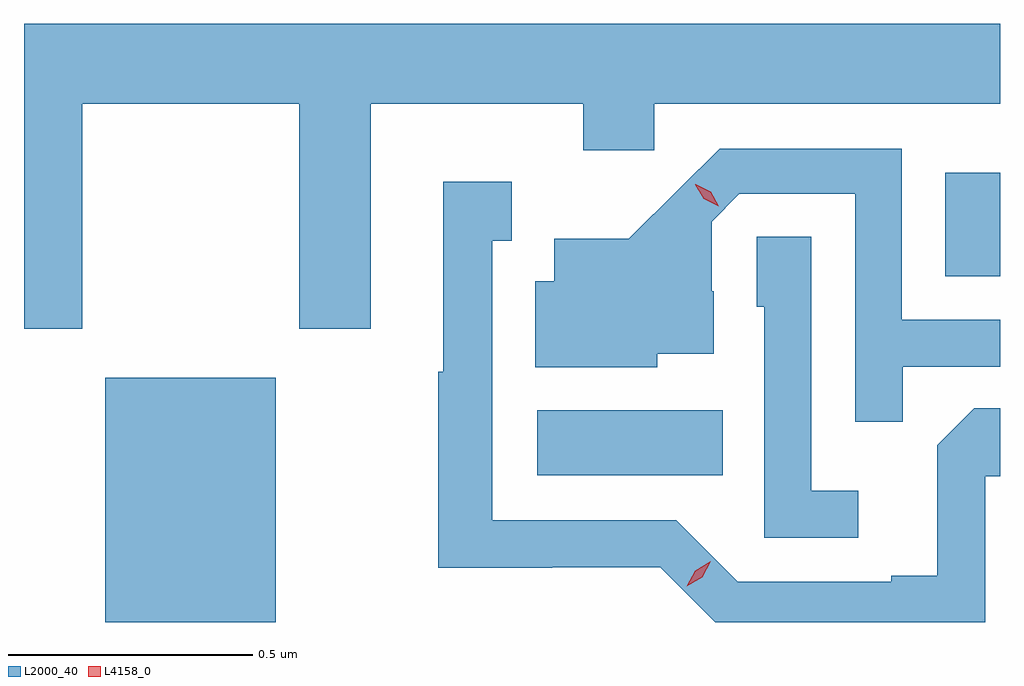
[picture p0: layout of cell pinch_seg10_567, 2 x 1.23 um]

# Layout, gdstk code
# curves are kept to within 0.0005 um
import gdstk
lib = gdstk.Library(unit=1e-6, precision=1e-09)
def R(c, l, rs):  # rectangles x0, y0, x1, y1
    for r in rs: c.add(gdstk.rectangle(r[:2], r[2:], *l))
def P(c, l, *ps):  # polygons
    for p in ps: c.add(gdstk.Polygon(p, *l))
L2000_40 = (2000, 40)
L4158_0 = (4158, 0)

pinch_seg10_567 = lib.new_cell('pinch_seg10_567')
R(pinch_seg10_567, L2000_40, [(388.016,1267.285,388.366,1267.786), (388.902,1267.586,389.282,1267.72), (389.738,1267.994,389.85,1268.206)])
P(pinch_seg10_567, L2000_40, [(387.969,1268.348),(388.414,1268.348),(388.414,1267.887),(388.561,1267.887),(388.561,1268.348),(388.996,1268.348),(388.996,1268.253),(389.142,1268.253),(389.142,1268.348),(389.85,1268.348),(389.85,1268.512),(387.85,1268.512),(387.85,1267.887),(387.969,1267.887)],
  [(389.651,1267.809),(389.85,1267.809),(389.85,1267.905),(389.649,1267.905),(389.649,1268.256),(389.276,1268.256),(389.089,1268.071),(388.937,1268.071),(388.937,1267.984),(388.898,1267.984),(388.898,1267.808),(389.148,1267.808),(389.148,1267.835),(389.263,1267.835),(389.263,1267.964),(389.259,1267.964),(389.259,1268.106),(389.316,1268.163),(389.553,1268.163),(389.553,1267.696),(389.651,1267.696)],
  [(389.82,1267.584),(389.85,1267.584),(389.85,1267.724),(389.797,1267.724),(389.721,1267.648),(389.721,1267.381),(389.627,1267.381),(389.627,1267.368),(389.313,1267.368),(389.187,1267.494),(388.81,1267.494),(388.81,1268.067),(388.849,1268.067),(388.849,1268.188),(388.709,1268.188),(388.709,1267.799),(388.699,1267.799),(388.699,1267.397),(388.932,1267.397),(388.932,1267.398),(389.154,1267.398),(389.267,1267.285),(389.82,1267.285)],
  [(389.56,1267.555),(389.463,1267.555),(389.463,1268.075),(389.352,1268.075),(389.352,1267.932),(389.367,1267.932),(389.367,1267.458),(389.56,1267.458)])
P(pinch_seg10_567, L4158_0, [(389.274,1268.138),(389.243,1268.153),(389.226,1268.182),(389.226,1268.183),(389.227,1268.183),(389.257,1268.167),(389.274,1268.138),(389.274,1268.138)],
  [(389.208,1267.359),(389.208,1267.359),(389.225,1267.391),(389.257,1267.41),(389.257,1267.41),(389.257,1267.41),(389.24,1267.378),(389.208,1267.359)])

lib.write_gds('pinch_seg10_567.gds')
